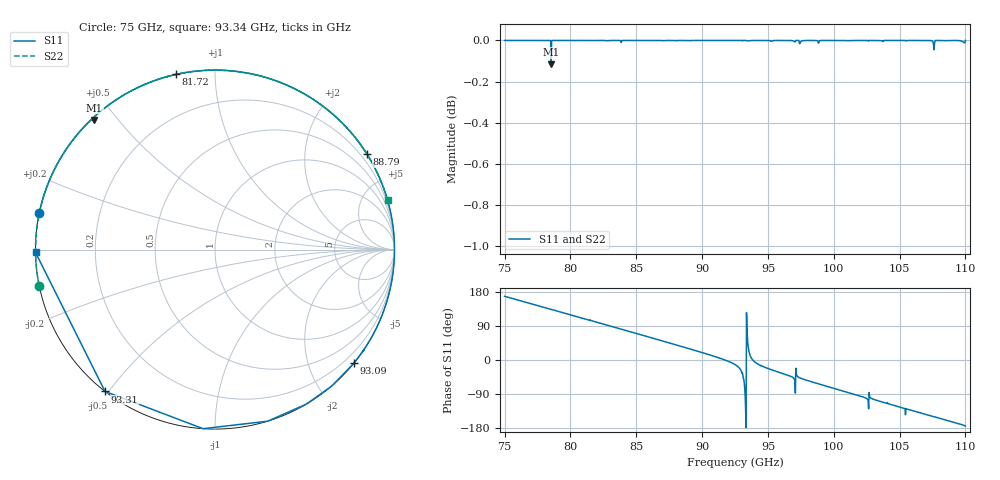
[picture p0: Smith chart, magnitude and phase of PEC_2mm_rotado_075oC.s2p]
! TOUCHSTONE file generated by CST MICROWAVE STUDIO
! Date and time: Wed Feb 14 15:11:38 2024
! Project name: metal_rotado.cst
! Parameters = {angY=0.75}
! Header version: 2018
! Port assignment regex: !\s*Touchstone port\s*([0-9]+)\s*=\s*(CST MWS port|CST DS port)\s*([0-9]+|Zmin|Zmax)\s*\(\"(.*)\"\)(\s*mode\s*([0-9]+))?.*
! Touchstone port assignment:
! Touchstone port 1 = CST MWS port 1 ("")
! Touchstone port 2 = CST MWS port 2 ("")
# GHz S MA R 376.7
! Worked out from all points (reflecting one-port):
!   1001 points, 75 GHz to 110 GHz, reference 376.7 ohm
!   lowest |S11| = -0.1 dB at 78.53 GHz (marker M1), VSWR 148.98, Z = 3.01 + j164 ohm
!   phase of S11 starts at 168 deg and turns -703 deg over the sweep
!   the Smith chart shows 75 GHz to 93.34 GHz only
!   S11 on the Smith chart (normalised r, x): 75 GHz: -0.00, +0.10; 81.72 GHz: 0.00, +0.80; 88.79 GHz: 0.00, +3.47; 93.09 GHz: -0.00, -2.82; 93.31 GHz: 0.00, -0.49; 93.34 GHz: -0.00, -0.01
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75  1 168.1  0 0.0  0 0.0  1 -168.4
78.535  0.9867 133.0  4.291e-65 -179.9  4.291e-65 -179.9  1 158.2
80.845  1 111.0  3.794e-65 -179.9  3.794e-65 -179.9  1 136.3
81.72  1 102.5  3.496e-65 -179.9  3.496e-65 -179.9  1 128.1
86.69  1 53.3  2.402e-65 -179.9  2.402e-65 -179.9  1 80.9
88.79  1 32.2  1.903e-65 -179.9  1.903e-65 -179.9  1 60.8
92.5  1 -12.0  0 0.0  0 0.0  1 24.5
93.095  1 -39.1  5.012e-66 180.0  5.012e-66 180.0  1 18.5
93.305  1 -127.8  0 0.0  0 0.0  1 16.3
93.34  1 -179.1  3e-66 -180.0  3e-66 -180.0  1 15.9
93.515  0.9998 32.4  2.005e-66 -179.9  2.005e-66 -179.9  1 14.1
93.62  0.9999 15.0  1.003e-66 -180.0  1.003e-66 -180.0  1 13.0
93.76  1 4.1  1.003e-66 -180.0  1.003e-66 -180.0  1 11.5
95.86  1 -32.7  7.017e-66 -0.1  7.017e-66 -0.1  1 -22.1
96.14  1 -35.9  8.016e-66 -0.1  8.016e-66 -0.1  1 -46.6
96.28  1 -37.5  8.006e-66 -0.1  8.006e-66 -0.1  0.9995 -105.5
96.525  1 -40.4  9.02e-66 -0.0  9.02e-66 -0.0  0.9998 31.6
96.63  0.9999 -41.8  1.002e-65 -0.0  1.002e-65 -0.0  1 15.3
96.77  1 -43.7  1.103e-65 -0.0  1.103e-65 -0.0  1 5.3
98.345  1 -57.8  1.603e-65 -0.1  1.603e-65 -0.1  1 -25.0
104.19  1 -115.9  3.099e-65 -0.1  3.099e-65 -0.1  1 -83.3
110  1 -174.6  0 0.0  0 0.0  1 -138.4
